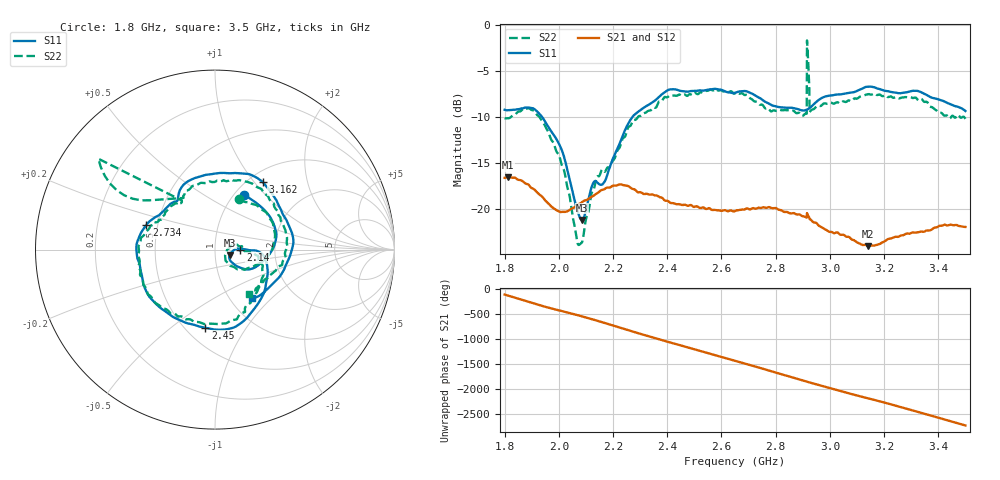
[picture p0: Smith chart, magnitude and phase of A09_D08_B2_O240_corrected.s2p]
! Created with skrf 1.9.0 (http://scikit-rf.org).
# Hz S RI R 50.0
!freq ReS11 ImS11 ReS21 ImS21 ReS12 ImS12 ReS22 ImS22
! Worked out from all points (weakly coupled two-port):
!   1601 points, 1.8 GHz to 3.5 GHz, reference 50 ohm
!   highest |S21| = -16.51 dB at 1.812 GHz (marker M1); lowest = -24.0 dB at 3.142 GHz (marker M2)
!   lowest |S11| = -21.1 dB at 2.086 GHz (marker M3), VSWR 1.19, Z = 58.8 - j3.64 ohm
!   |S11| at or under -10 dB: 1.939 GHz to 2.271 GHz (331.8 MHz wide, 15.8 % of centre)
!   |S22| runs from -23.9 to -1.7 dB; largest |S21 - S12| = 0.003
!   S11 on the Smith chart (normalised r, x): 1.8 GHz: 1.11, +0.77; 2.14 GHz: 1.33, -0.00; 2.45 GHz: 0.62, -0.67; 2.734 GHz: 0.43, +0.14; 3.162 GHz: 1.15, +1.10; 3.5 GHz: 1.26, -0.77
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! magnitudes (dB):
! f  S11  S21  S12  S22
! 1.8 GHz  -9.2  -16.6  -16.6  -10.1
! 1.812 GHz  -9.3  -16.5  -16.5  -10.1
! 1.888 GHz  -9.0  -17.3  -17.4  -9.0
! 1.942 GHz  -10.1  -18.7  -18.7  -10.6
! 2.01 GHz  -13.5  -20.3  -20.3  -15.1
! 2.067 GHz  -19.9  -19.5  -19.5  -23.4
! 2.084 GHz  -21.1  -19.3  -19.2  -23.6
! 2.086 GHz  -21.1  -19.2  -19.2  -23.5
! 2.14 GHz  -17.0  -18.3  -18.3  -16.5
! 2.169 GHz  -17.0  -17.8  -17.8  -15.9
! 2.27 GHz  -10.0  -17.7  -17.7  -10.6
! 2.367 GHz  -7.9  -18.6  -18.5  -8.4
! 2.45 GHz  -7.2  -19.5  -19.5  -7.6
! 2.65 GHz  -7.4  -20.2  -20.2  -7.4
! 2.734 GHz  -7.8  -19.8  -19.8  -8.4
! 2.904 GHz  -9.3  -20.8  -20.8  -9.8
! 2.924 GHz  -9.0  -20.9  -20.9  -6.9
! 2.934 GHz  -8.8  -21.2  -21.2  -9.2
! 3.142 GHz  -6.7  -24.0  -23.9  -7.5
! 3.162 GHz  -6.7  -23.9  -23.9  -7.4
! 3.217 GHz  -7.2  -23.2  -23.2  -7.8
! 3.5 GHz  -9.3  -21.9  -21.9  -10.2
